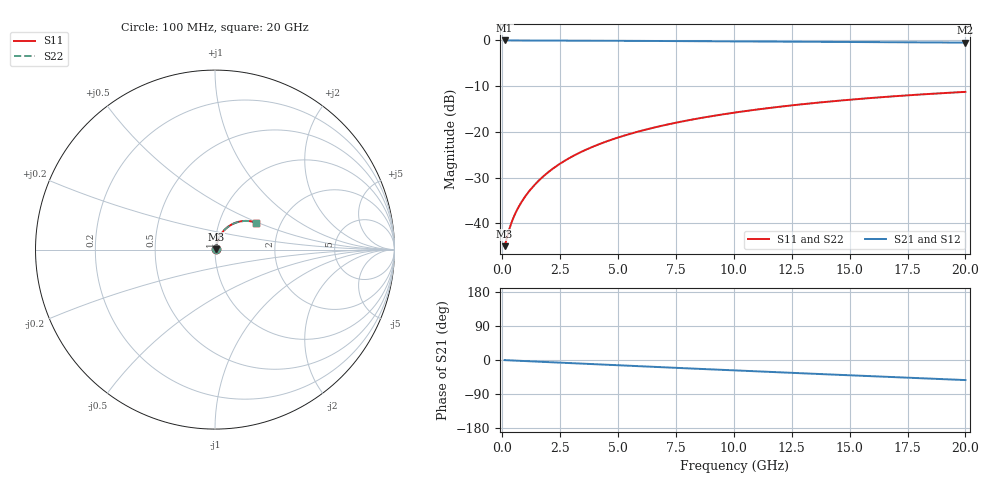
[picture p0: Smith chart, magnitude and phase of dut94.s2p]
! Touchstone file exported from HFSS 2026.1.0
!  File:  C:/ffzhzh/LocalFiles/Ansys_Project_Files/temp_train_TMRDL_94_1782881589_43084.aedt
!  Generated:  12:54:18 PM Jul  1, 2026
!  Design:  TMRDL
!  Project:  temp_train_TMRDL_94_1782881589_43084
! Variables:
!  h_bsmrdl = 2um
!  h_ox = 20um
!  h_rdl = 5um
!  h_sub = 80um
!  h_tmrdl = 3.37um
!  h_tsv = 80um
!  h_via = 3um
!  l_bsmrdl = 300um
!  l_sub = 1305.57um
!  l_tmrdl = 905.57um
!  m_sub = 200um
!  pitch = 29.38um
!  r_tsv = 6um
!  s_tmrdl = 10um
!  w_bsmrdl = 18um
!  w_sub = 500um
!  w_tmrdl = 19um
!  x_tsv_center1 = 915.07um
!  x_tsv_center2 = 1233.07um
!  x_tsv_center3 = 2157.64um
!  x_tsv_center4 = 2475.64um
!  x_tsv_center5 = 3400.21um
!  x_tsv_center6 = 3718.21um
# GHz S MA R 50.000000
! Terminal data exported
! Port[1] = TM_RDL1_1_T1
! Port[2] = TM_RDL1_1_T2
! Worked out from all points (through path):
!   200 points, 100 MHz to 20 GHz, reference 50 ohm
!   highest |S21| = -0.05 dB at 100 MHz (marker M1); lowest = -0.5 dB at 20 GHz (marker M2)
!   group delay of S21, straight-line fit = 7.34 ps
!   lowest |S11| = -45.0 dB at 100 MHz (marker M3), VSWR 1.01, Z = 50.5 + j0.227 ohm
!   |S11| at or under -10 dB: start of sweep to end of sweep
!   |S22| runs from -45.0 to -11.3 dB; largest |S21 - S12| = 2.6e-15
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0.1  0.00565 23.4  0.9948 -0.3  0.9948 -0.3  0.00565 23.4
! Gamma 0 0 0 0
! Port Impedance 50 0 50 0
0.3  0.008631 46.9  0.9942 -0.9  0.9942 -0.9  0.008632 46.9
0.4  0.01026 52.2  0.9938 -1.2  0.9938 -1.2  0.01026 52.2
0.5  0.01187 56.0  0.9936 -1.5  0.9936 -1.5  0.01187 56.0
0.6  0.01346 58.9  0.9934 -1.7  0.9934 -1.7  0.01346 58.9
0.8  0.01664 63.2  0.993 -2.3  0.993 -2.3  0.01664 63.2
1  0.01986 66.1  0.9928 -2.9  0.9928 -2.9  0.01986 66.1
1.2  0.02313 68.3  0.9925 -3.4  0.9925 -3.4  0.02314 68.3
1.4  0.02645 69.8  0.9923 -4.0  0.9923 -4.0  0.02645 69.8
1.7  0.03148 71.2  0.992 -4.8  0.992 -4.8  0.03148 71.2
2.2  0.03994 72.4  0.9914 -6.2  0.9914 -6.2  0.03994 72.4
2.8  0.05012 72.6  0.9905 -7.9  0.9905 -7.9  0.05013 72.6
3.5  0.06194 72.0  0.9893 -9.8  0.9893 -9.8  0.06195 72.0
4.2  0.07362 71.0  0.9879 -11.7  0.9879 -11.7  0.07363 70.9
5  0.08674 69.4  0.9861 -13.9  0.9861 -13.9  0.08675 69.4
5.9  0.1012 67.4  0.9839 -16.4  0.9839 -16.4  0.1012 67.4
6.8  0.1152 65.3  0.9815 -18.8  0.9815 -18.8  0.1152 65.3
8.3  0.1377 61.7  0.9772 -22.8  0.9772 -22.8  0.1377 61.7
10.1  0.1632 57.3  0.9718 -27.6  0.9718 -27.6  0.1632 57.2
13.4  0.2056 49.2  0.9616 -36.2  0.9616 -36.2  0.2057 49.1
16.7  0.2424 41.2  0.9516 -44.7  0.9516 -44.7  0.2425 41.1
20  0.2731 33.3  0.9423 -53.0  0.9423 -53.0  0.2732 33.2
